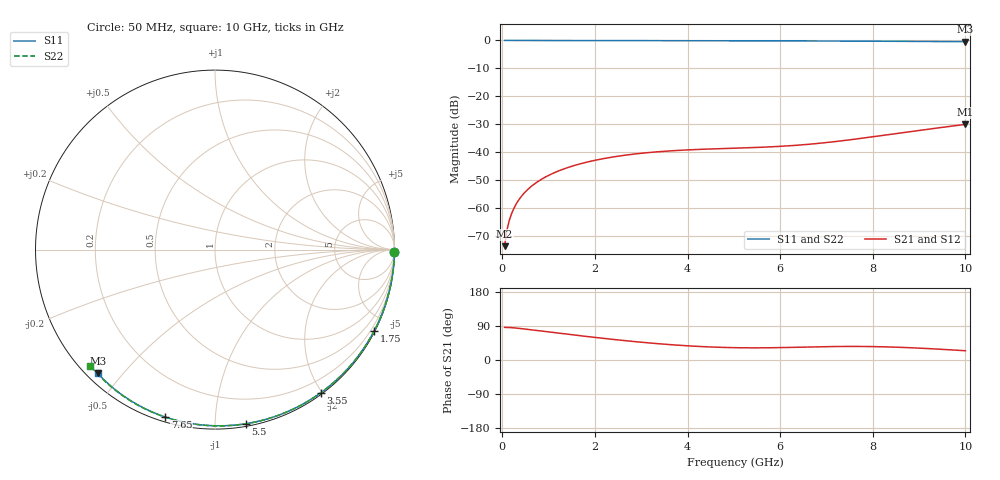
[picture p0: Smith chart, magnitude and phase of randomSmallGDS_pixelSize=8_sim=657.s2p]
! freq	dB(S11)	phase(S11)	dB(S12)	phase(S12)
!  dB(S21)	phase(S21)	dB(S22)	phase(S22)
!S-par simulation data
#  GHz  S  DB  R 50
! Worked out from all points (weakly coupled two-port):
!   200 points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, 50 MHz to 10 GHz, reference 50 ohm
!   highest |S21| = -30.06 dB at 10 GHz (marker M1); lowest = -73.7 dB at 50 MHz (marker M2)
!   lowest |S11| = -0.4 dB at 10 GHz (marker M3), VSWR 39.25, Z = 1.51 - j21.5 ohm
!   |S11| at or under -10 dB: nowhere
!   |S22| runs from -0.5 to 0.0 dB; largest |S21 - S12| = 0
!   S11 on the Smith chart (normalised r, x): 50 MHz: open; 1.75 GHz: 0.04, -4.16; 3.55 GHz: 0.02, -1.98; 5.5 GHz: 0.02, -1.19; 7.65 GHz: 0.02, -0.75; 10 GHz: 0.03, -0.43
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0.05  -0.00 -0.8  -73.66 86.1  -73.66 86.1  -0.00 -0.8
0.1  -0.00 -1.6  -67.92 86.0  -67.92 86.0  -0.00 -1.6
0.15  -0.00 -2.4  -64.49 85.8  -64.49 85.8  -0.00 -2.4
0.2  -0.00 -3.1  -62.04 85.4  -62.04 85.4  -0.00 -3.2
0.25  -0.00 -3.9  -60.12 84.9  -60.12 84.9  -0.00 -4.0
0.35  -0.00 -5.5  -57.23 83.6  -57.23 83.6  -0.00 -5.7
0.5  -0.01 -7.8  -54.17 81.5  -54.17 81.5  -0.01 -8.1
0.7  -0.01 -10.9  -51.30 78.6  -51.30 78.6  -0.01 -11.3
1  -0.02 -15.6  -48.31 74.1  -48.31 74.1  -0.02 -16.0
1.35  -0.03 -21.0  -45.88 68.9  -45.88 68.9  -0.03 -21.5
1.75  -0.03 -27.0  -43.88 63.1  -43.88 63.1  -0.04 -27.8
2.5  -0.05 -38.3  -41.44 52.9  -41.44 52.9  -0.05 -39.3
3.4  -0.07 -51.4  -39.80 42.7  -39.80 42.7  -0.07 -52.8
3.55  -0.07 -53.5  -39.62 41.2  -39.62 41.2  -0.07 -55.0
4.3  -0.09 -64.0  -38.97 35.4  -38.97 35.4  -0.09 -65.7
5.05  -0.11 -74.1  -38.56 32.4  -38.56 32.4  -0.12 -76.1
5.5  -0.13 -80.0  -38.31 32.1  -38.31 32.1  -0.13 -82.1
6.7  -0.18 -95.1  -37.05 34.5  -37.05 34.5  -0.19 -97.6
7.65  -0.24 -106.6  -35.27 35.8  -35.27 35.8  -0.24 -109.3
8.35  -0.29 -114.7  -33.69 34.4  -33.69 34.4  -0.30 -117.7
9.2  -0.36 -124.4  -31.77 30.1  -31.77 30.1  -0.37 -127.7
10  -0.44 -133.4  -30.06 24.4  -30.06 24.4  -0.45 -137.0
